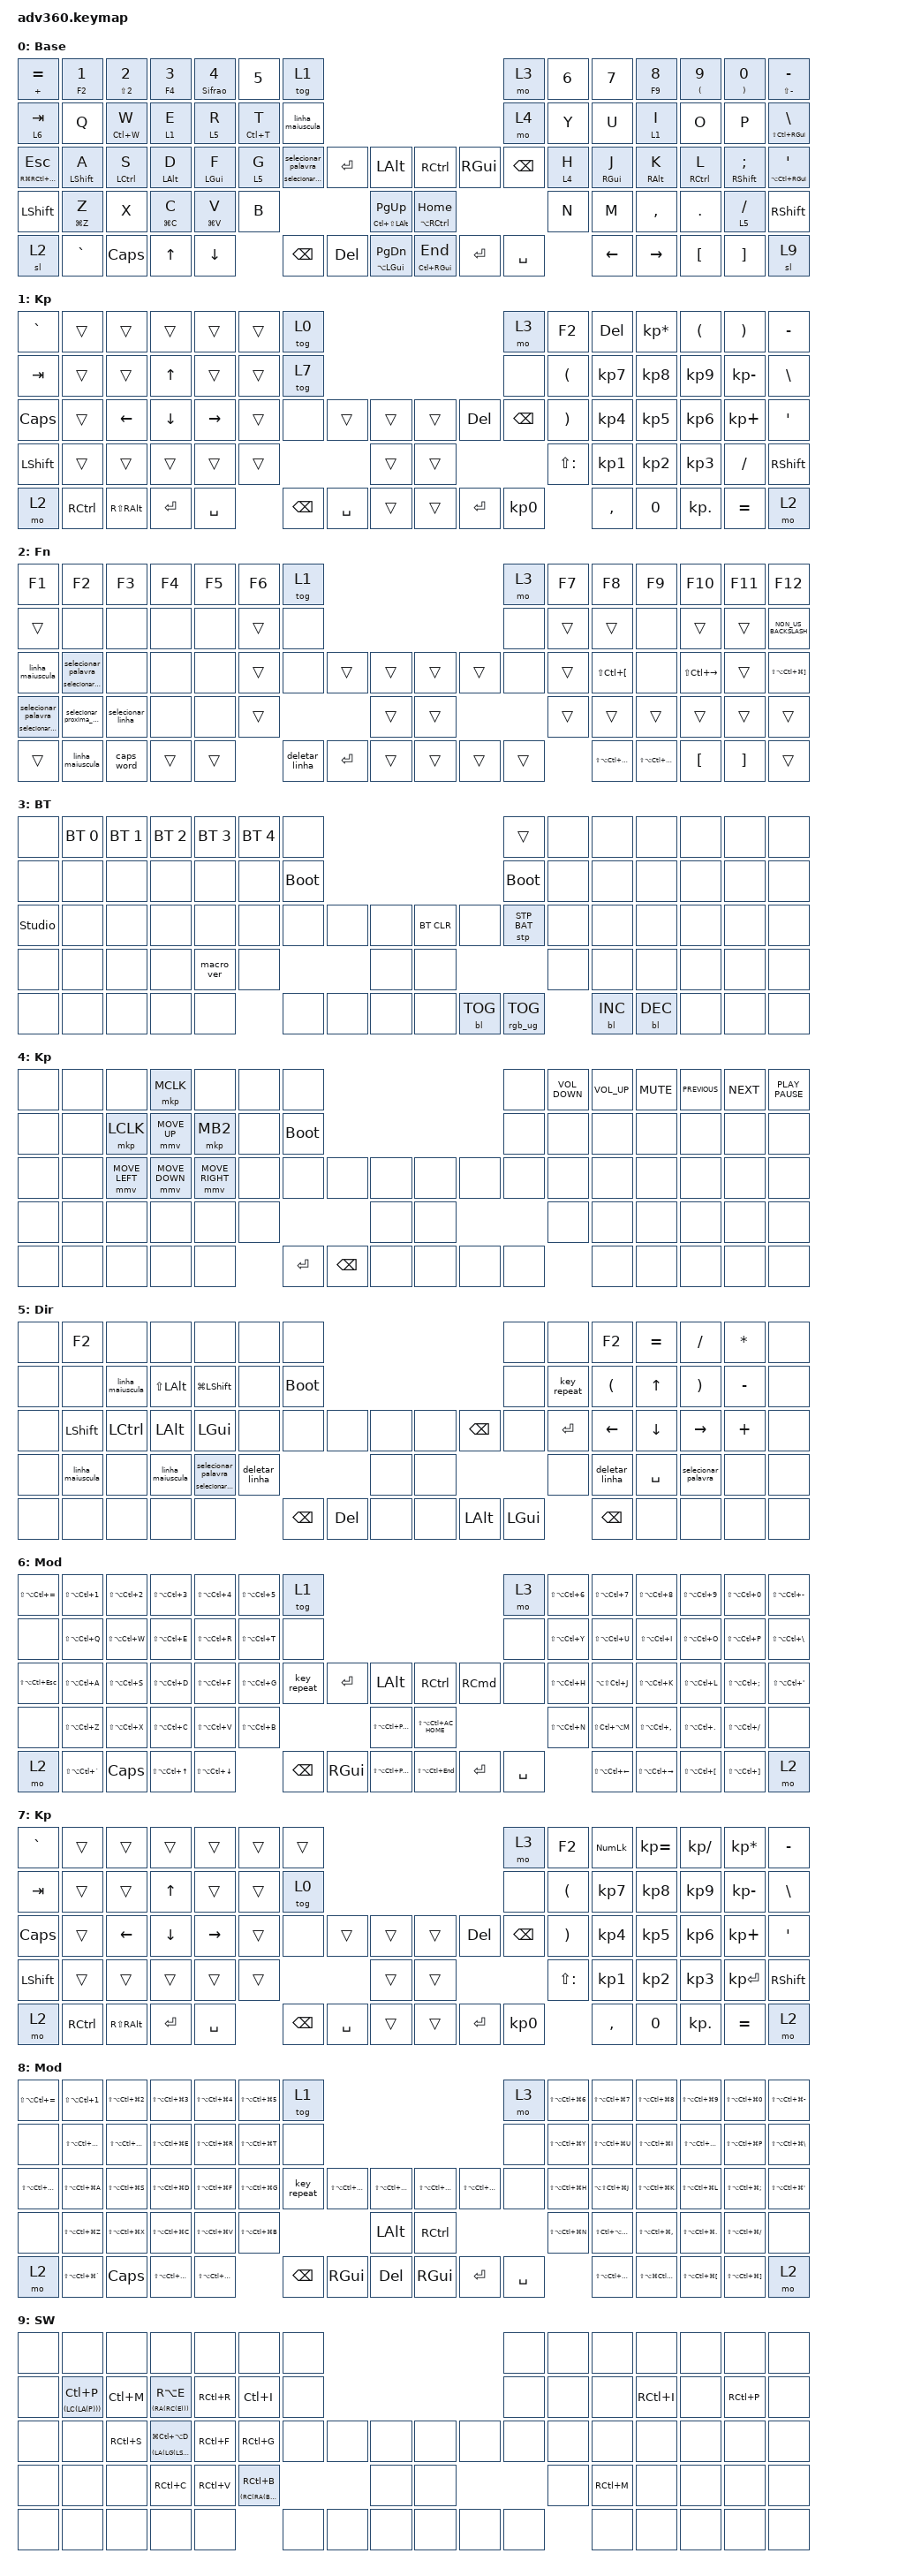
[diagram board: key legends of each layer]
#include <dt-bindings/zmk/stp.h>
#include <behaviors.dtsi>
#include <dt-bindings/zmk/backlight.h>
#include <dt-bindings/zmk/bt.h>
#include <dt-bindings/zmk/keys.h>
#include <dt-bindings/zmk/pointing.h>
#include <dt-bindings/zmk/rgb.h>

/ {
    behaviors {
        #include "macros.dtsi"
      #include "version.dtsi"

        hm: homerow_mods {
            compatible = "zmk,behavior-hold-tap";
            label = "HOMEROW_MODS";
            #binding-cells = <2>;
            tapping-term-ms = <250>;
            quick_tap_ms = <200>;
            flavor = "tap-preferred";
            bindings = <&kp>, <&kp>;
        };

        hm_slow: hm_slow {
            compatible = "zmk,behavior-hold-tap";
            label = "HM_SLOW";
            #binding-cells = <2>;
            tapping-term-ms = <300>;
            quick_tap_ms = <250>;
            flavor = "tap-preferred";
            bindings = <&kp>, <&kp>;
        };

        hm_fast: hm_fast {
            compatible = "zmk,behavior-hold-tap";
            label = "HM_FAST";
            #binding-cells = <2>;
            tapping-term-ms = <120>;
            quick_tap_ms = <70>;
            flavor = "tap-preferred";
            bindings = <&kp>, <&kp>;
        };

        macro_palavra: macro_palavra {
            compatible = "zmk,behavior-hold-tap";
            label = "MACRO_PALAVRA";
            #binding-cells = <2>;
            tapping-term-ms = <250>;
            quick_tap_ms = <100>;
            flavor = "tap-preferred";
            bindings = <&selecionar_proxima_palavra>, <&selecionar_palavra>;
        };

        Letra_Macro: Letra_Macro {
            compatible = "zmk,behavior-hold-tap";
            label = "LETRA_MACRO";
            #binding-cells = <2>;
            tapping-term-ms = <250>;
            quick_tap_ms = <200>;
            flavor = "tap-preferred";
            bindings = <&selecionar_linha>, <&kp>;
        };

        Tap_Sifrao: Tap_Sifrao {
            compatible = "zmk,behavior-hold-tap";
            label = "TAP_SIFRAO";
            #binding-cells = <2>;
            tapping-term-ms = <250>;
            quick_tap_ms = <200>;
            flavor = "tap-preferred";
            bindings = <&Sifrao>, <&kp>;
        };

        tap_dance: tap_dance {
            compatible = "zmk,behavior-tap-dance";
            label = "TAP_DANCE";
            #binding-cells = <0>;
            bindings = <&none>, <&none>;

            tapping-term-ms = <200>;
        };
    };

    combos {
        compatible = "zmk,combos";

        CapsLock {
            bindings = <&linha_maiuscula>;
            key-positions = <46 59>;
        };

        Delet {
            bindings = <&kp DELETE>;
            key-positions = <46 65>;
        };

        CapsWords {
            bindings = <&caps_word>;
            key-positions = <46 62>;
        };

        SW_Layer {
            bindings = <&sl 9>;
            key-positions = <50 49>;
        };

        Alt_Tab {
            bindings = <&kp LG(LA(Y))>;
            key-positions = <55 56>;
        };

        space {
            bindings = <&kp SPACE>;
            key-positions = <65 29>;
        };
    };

    macros {
        selecionar_palavra: selecionar_palavra {
            compatible = "zmk,behavior-macro";
            #binding-cells = <0>;
            bindings = <&kp LA(LEFT_ARROW) &kp LS(LA(RIGHT))>;
            label = "SELECIONAR_PALAVRA";
        };

        deletar_linha: deletar_linha {
            compatible = "zmk,behavior-macro";
            #binding-cells = <0>;
            bindings = <&kp RA(RIGHT_ARROW) &kp LS(LG(LEFT_ARROW)) &kp DELETE>;
            label = "DELETAR_LINHA";
        };

        selecionar_proxima_palavra: selecionar_proxima_palavra {
            compatible = "zmk,behavior-macro";
            #binding-cells = <0>;
            bindings = <&kp RA(RIGHT_ARROW) &kp LA(LEFT) &kp LA(LEFT) &kp LS(LA(RIGHT))>;
            label = "SELECIONAR_PROXIMA_PALAVRA";
        };

        linha_maiuscula: linha_maiuscula {
            compatible = "zmk,behavior-macro";
            #binding-cells = <0>;
            bindings = <&kp LG(LS(LEFT)) &kp LS(LA(LC(LG(U))))>;
            label = "LINHA_MAIUSCULA";
        };

        parenteses: parenteses {
            compatible = "zmk,behavior-macro";
            #binding-cells = <0>;
            bindings = <&kp LEFT_PARENTHESIS &kp RIGHT_PARENTHESIS &kp LEFT>;
            label = "PARENTESES";
        };

        selecionar_linha: selecionar_linha {
            compatible = "zmk,behavior-macro";
            #binding-cells = <0>;
            bindings = <&kp LG(RIGHT) &kp LS(LG(LEFT_ARROW))>;
            label = "SELECIONAR_LINHA";
        };

        Sifrao: Sifrao {
            compatible = "zmk,behavior-macro";
            #binding-cells = <0>;
            bindings = <&kp LS(R) &kp DLLR>;
            label = "SIFRAO";
        };
    };

    keymap {
        compatible = "zmk,keymap";

        default_layer {
            display-name = "Base";
            bindings = <
&hm_slow PLUS EQUAL               &hm_slow F2 N1         &hm_slow LS(N2) NUMBER_2  &hm_slow F4 NUMBER_3  &Tap_Sifrao 0 NUMBER_4  &kp N5            &tog 1                                                                                                      &mo 3          &kp N6   &kp N7           &hm F9 N8        &hm_slow LEFT_PARENTHESIS N9  &hm_slow RIGHT_PARENTHESIS N0   &hm_slow LS(MINUS) MINUS
&lt 6 TAB                         &kp Q                  &hm_slow LC(W) W          &lt 1 E               &lt 5 R                 &hm_slow LC(T) T  &linha_maiuscula                                                                                            &mo 4          &kp Y    &kp U            &lt 1 I          &kp O                         &kp P                           &hm_slow LS(LC(RIGHT_GUI)) BACKSLASH
&hm RG(RC(RS(RIGHT_ALT))) ESCAPE  &hm_slow LEFT_SHIFT A  &hm LEFT_CONTROL S        &hm LEFT_ALT D        &hm LEFT_GUI F          &lt 5 G           &macro_palavra 0 0  &kp ENTER  &kp LALT                          &kp RIGHT_CONTROL           &kp RIGHT_GUI  &kp BACKSPACE  &lt 4 H  &hm RIGHT_GUI J  &hm RIGHT_ALT K  &hm RIGHT_CONTROL L           &hm_fast RIGHT_SHIFT SEMICOLON  &hm LA(LC(RIGHT_GUI)) SQT
&kp LSHFT                         &hm_slow LG(Z) Z       &kp X                     &hm_slow LG(C) C      &hm_slow LG(V) V        &kp B                                            &hm LC(LS(LEFT_ALT)) PAGE_UP      &hm LA(RIGHT_CONTROL) HOME                                &kp N    &kp M            &kp COMMA        &kp DOT                       &lt 5 SLASH                     &kp RSHFT
&sl 2                             &kp GRAVE              &kp CAPSLOCK              &kp UP_ARROW          &kp DOWN                                  &kp BACKSPACE       &kp DEL    &hm LA(LEFT_GUI) PAGE_DOWN        &hm LC(RIGHT_GUI) END       &kp ENTER      &kp SPACE               &kp LEFT_ARROW   &kp RIGHT        &kp LEFT_BRACKET              &kp RIGHT_BRACKET               &sl 9
            >;
        };

        keypad {
            display-name = "Kp";
            bindings = <
&kp GRAVE  &trans             &trans             &trans     &trans     &trans  &tog 0                                              &mo 3          &kp F2                 &kp DELETE       &kp KP_MULTIPLY  &kp LEFT_PARENTHESIS  &kp RIGHT_PARENTHESIS  &kp MINUS
&kp TAB    &trans             &trans             &kp UP     &trans     &trans  &tog 7                                              &none          &kp LEFT_PARENTHESIS   &kp KP_N7        &kp KP_N8        &kp KP_N9             &kp KP_MINUS           &kp BSLH
&kp CAPS   &trans             &kp LEFT           &kp DOWN   &kp RIGHT  &trans  &none     &trans     &trans      &trans  &kp DEL    &kp BACKSPACE  &kp RIGHT_PARENTHESIS  &kp KP_N4        &kp KP_N5        &kp KP_N6             &kp KP_PLUS            &kp SQT
&kp LSHFT  &trans             &trans             &trans     &trans     &trans                       &trans      &trans                            &kp LS(COLON)          &kp KP_NUMBER_1  &kp KP_NUMBER_2  &kp KP_N3             &kp SLASH              &kp RSHFT
&mo 2      &kp RIGHT_CONTROL  &kp RS(RIGHT_ALT)  &kp ENTER  &kp SPACE          &kp BSPC  &kp SPACE  &trans      &trans  &kp ENTER  &kp KP_N0                             &kp COMMA        &kp N0           &kp KP_DOT            &kp EQUAL              &mo 2
            >;
        };

        fn {
            display-name = "Fn";
            bindings = <
&kp F1              &kp F2                       &kp F3             &kp F4  &kp F5  &kp F6  &tog 1                                                 &mo 3   &kp F7  &kp F8                    &kp F9                     &kp F10            &kp F11   &kp F12
&trans              &none                        &none              &none   &none   &trans  &none                                                  &none   &trans  &trans                    &none                      &trans             &trans    &kp NON_US_BACKSLASH
&linha_maiuscula    &macro_palavra 0 0           &none              &none   &none   &trans  &none           &trans     &trans      &trans  &trans  &none   &trans  &kp LS(LC(LEFT_BRACKET))  &none                      &kp LS(LC(RIGHT))  &trans    &kp LS(LA(LC(LG(RIGHT_BRACKET))))
&macro_palavra 0 0  &selecionar_proxima_palavra  &selecionar_linha  &none   &none   &trans                             &trans      &trans                  &trans  &trans                    &trans                     &trans             &trans    &trans
&trans              &linha_maiuscula             &caps_word         &trans  &trans          &deletar_linha  &kp ENTER  &trans      &trans  &trans  &trans          &kp LS(LA(LC(LG(LEFT))))  &kp LS(LA(LC(LG(RIGHT))))  &kp LBKT           &kp RBKT  &trans
            >;
        };

        mod {
            display-name = "BT";
            bindings = <
&none           &bt BT_SEL 0  &bt BT_SEL 1  &bt BT_SEL 2  &bt BT_SEL 3  &bt BT_SEL 4  &none                                                  &trans           &none  &none       &none       &none  &none  &none
&none           &none         &none         &none         &none         &none         &bootloader                                            &bootloader      &none  &none       &none       &none  &none  &none
&studio_unlock  &none         &none         &none         &none         &none         &none        &none  &none      &bt BT_CLR  &none       &stp STP_BAT     &none  &none       &none       &none  &none  &none
&none           &none         &none         &none         &macro_ver    &none                             &none      &none                                    &none  &none       &none       &none  &none  &none
&none           &none         &none         &none         &none                       &none        &none  &none      &none       &bl BL_TOG  &rgb_ug RGB_TOG         &bl BL_INC  &bl BL_DEC  &none  &none  &none
            >;
        };

        Mouse {
            display-name = "Kp";
            bindings = <
&none  &none  &none           &mkp MCLK       &none            &none  &none                                           &none  &kp C_VOLUME_DOWN  &kp C_VOLUME_UP  &kp K_MUTE  &kp K_PREVIOUS  &kp K_NEXT  &kp K_PLAY_PAUSE
&none  &none  &mkp LCLK       &mmv MOVE_UP    &mkp MB2         &none  &bootloader                                     &none  &none              &none            &none       &none           &none       &none
&none  &none  &mmv MOVE_LEFT  &mmv MOVE_DOWN  &mmv MOVE_RIGHT  &none  &none        &none     &none      &none  &none  &none  &none              &none            &none       &none           &none       &none
&none  &none  &none           &none           &none            &none                         &none      &none                &none              &none            &none       &none           &none       &none
&none  &none  &none           &none           &none                   &kp RET      &kp BSPC  &none      &none  &none  &none                     &none            &none       &none           &none       &none
            >;
        };

        Direcional {
            display-name = "Dir";
            bindings = <
&none  &kp F2            &none             &none             &none               &none           &none                                                      &none         &none        &kp F2                &kp EQUAL  &kp FSLH               &kp STAR   &none
&none  &none             &linha_maiuscula  &kp LS(LEFT_ALT)  &kp LG(LEFT_SHIFT)  &none           &bootloader                                                &none         &key_repeat  &kp LEFT_PARENTHESIS  &kp UP     &kp RIGHT_PARENTHESIS  &kp MINUS  &none
&none  &kp LEFT_SHIFT    &kp LEFT_CONTROL  &kp LALT          &kp LGUI            &none           &none          &none       &none      &none  &kp BSPC      &none         &kp RET      &kp LEFT              &kp DOWN   &kp RIGHT              &kp PLUS   &none
&none  &linha_maiuscula  &none             &linha_maiuscula  &macro_palavra 0 0  &deletar_linha                             &none      &none                              &none        &deletar_linha        &kp SPACE  &selecionar_palavra    &none      &none
&none  &none             &none             &none             &none                               &kp BACKSPACE  &kp DELETE  &none      &none  &kp LEFT_ALT  &kp LEFT_GUI               &kp BACKSPACE         &none      &none                  &none      &none
            >;
        };

        Hyper_layer {
            display-name = "Mod";
            bindings = <
&kp LS(LA(LC(EQUAL)))   &kp LS(LA(LC(N1)))     &kp LS(LA(LC(N2)))  &kp LS(LA(LC(N3)))  &kp LS(LA(LC(N4)))          &kp LS(LA(LC(N5)))  &tog 1                                                                                                     &mo 3      &kp LS(LA(LC(N6)))  &kp LS(LA(LC(N7)))          &kp LS(LA(LC(N8)))     &kp LS(LA(LC(N9)))    &kp LS(LA(LC(N0)))    &kp LS(LA(LC(MINUS)))
&none                   &kp LS(LA(LC(Q)))      &kp LS(LA(LC(W)))   &kp LS(LA(LC(E)))   &kp LS(LA(LC(R)))           &kp LS(LA(LC(T)))   &none                                                                                                      &none      &kp LS(LA(LC(Y)))   &kp LS(LA(LC(U)))           &kp LS(LA(LC(I)))      &kp LS(LA(LC(O)))     &kp LS(LA(LC(P)))     &kp LS(LA(LC(BACKSLASH)))
&kp LS(LA(LC(ESCAPE)))  &kp LS(LA(LC(A)))      &kp LS(LA(LC(S)))   &kp LS(LA(LC(D)))   &kp LS(LA(LC(F)))           &kp LS(LA(LC(G)))   &key_repeat    &kp ENTER      &kp LEFT_ALT                   &kp RIGHT_CONTROL          &kp RIGHT_COMMAND  &none      &kp LS(LA(LC(H)))   &kp LA(LS(LC(J)))           &kp LS(LA(LC(K)))      &kp LS(LA(LC(L)))     &kp LS(LA(LC(SEMI)))  &kp LS(LA(LC(SQT)))
&none                   &kp LS(LA(LC(Z)))      &kp LS(LA(LC(X)))   &kp LS(LA(LC(C)))   &kp LS(LA(LC(V)))           &kp LS(LA(LC(B)))                                 &kp LS(LA(LC(PAGE_UP)))        &kp LS(LA(LC(C_AC_HOME)))                                &kp LS(LA(LC(N)))   &kp LS(LC(LA(M)))           &kp LS(LA(LC(COMMA)))  &kp LS(LA(LC(DOT)))   &kp LS(LA(LC(FSLH)))  &none
&mo 2                   &kp LS(LA(LC(GRAVE)))  &kp CAPSLOCK        &kp LS(LA(LC(UP)))  &kp LS(LA(LC(DOWN_ARROW)))                      &kp BACKSPACE  &kp RIGHT_GUI  &kp LS(LA(LC(PAGE_DOWN)))      &kp LS(LA(LC(END)))        &kp ENTER          &kp SPACE                      &kp LS(LA(LC(LEFT_ARROW)))  &kp LS(LA(LC(RIGHT)))  &kp LS(LA(LC(LBKT)))  &kp LS(LA(LC(RBKT)))  &mo 2
            >;
        };

        layer_8 {
            display-name = "Kp";
            bindings = <
&kp GRAVE  &trans             &trans             &trans     &trans     &trans  &trans                                              &mo 3          &kp F2                 &kp KP_NUM       &kp KP_EQUAL     &kp KP_DIVIDE  &kp KP_MULTIPLY  &kp MINUS
&kp TAB    &trans             &trans             &kp UP     &trans     &trans  &tog 0                                              &none          &kp LEFT_PARENTHESIS   &kp KP_N7        &kp KP_N8        &kp KP_N9      &kp KP_MINUS     &kp BSLH
&kp CAPS   &trans             &kp LEFT           &kp DOWN   &kp RIGHT  &trans  &none     &trans     &trans      &trans  &kp DEL    &kp BACKSPACE  &kp RIGHT_PARENTHESIS  &kp KP_N4        &kp KP_N5        &kp KP_N6      &kp KP_PLUS      &kp SQT
&kp LSHFT  &trans             &trans             &trans     &trans     &trans                       &trans      &trans                            &kp LS(COLON)          &kp KP_NUMBER_1  &kp KP_NUMBER_2  &kp KP_N3      &kp KP_ENTER     &kp RSHFT
&mo 2      &kp RIGHT_CONTROL  &kp RS(RIGHT_ALT)  &kp ENTER  &kp SPACE          &kp BSPC  &kp SPACE  &trans      &trans  &kp ENTER  &kp KP_N0                             &kp COMMA        &kp N0           &kp KP_DOT     &kp EQUAL        &mo 2
            >;
        };

        Lay_special {
            display-name = "Mod";
            bindings = <
&kp LS(LA(LC(EQUAL)))       &kp LS(LA(LC(N1)))         &kp LS(LA(LC(LG(N2))))  &kp LS(LA(LC(LG(N3))))  &kp LS(LA(LC(LG(N4))))          &kp LS(LA(LC(LG(N5))))  &tog 1                                                                                                                      &mo 3      &kp LS(LA(LC(LG(N6))))  &kp LS(LA(LC(LG(N7))))          &kp LS(LA(LC(LG(N8))))     &kp LS(LA(LC(LG(N9))))    &kp LS(LA(LC(LG(N0))))    &kp LS(LA(LC(LG(MINUS))))
&none                       &kp LS(LA(LC(LG(Q))))      &kp LS(LA(LC(LG(W))))   &kp LS(LA(LC(LG(E))))   &kp LS(LA(LC(LG(R))))           &kp LS(LA(LC(LG(T))))   &none                                                                                                                       &none      &kp LS(LA(LC(LG(Y))))   &kp LS(LA(LC(LG(U))))           &kp LS(LA(LC(LG(I))))      &kp LS(LA(LC(LG(O))))     &kp LS(LA(LC(LG(P))))     &kp LS(LA(LC(LG(BACKSLASH))))
&kp LS(LA(LC(LG(ESCAPE))))  &kp LS(LA(LC(LG(A))))      &kp LS(LA(LC(LG(S))))   &kp LS(LA(LC(LG(D))))   &kp LS(LA(LC(LG(F))))           &kp LS(LA(LC(LG(G))))   &key_repeat    &kp LS(LA(LC(LG(PG_UP))))  &kp LS(LA(LC(LG(PG_DN))))      &kp LS(LA(LC(LG(HOME))))  &kp LS(LA(LC(LG(END))))  &none      &kp LS(LA(LC(LG(H))))   &kp LA(LS(LC(LG(J))))           &kp LS(LA(LC(LG(K))))      &kp LS(LA(LC(LG(L))))     &kp LS(LA(LC(LG(SEMI))))  &kp LS(LA(LC(LG(SQT))))
&none                       &kp LS(LA(LC(LG(Z))))      &kp LS(LA(LC(LG(X))))   &kp LS(LA(LC(LG(C))))   &kp LS(LA(LC(LG(V))))           &kp LS(LA(LC(LG(B))))                                             &kp LEFT_ALT                   &kp RIGHT_CONTROL                                             &kp LS(LA(LC(LG(N))))   &kp LS(LC(LA(LG(M))))           &kp LS(LA(LC(LG(COMMA))))  &kp LS(LA(LC(LG(DOT))))   &kp LS(LA(LC(LG(FSLH))))  &none
&mo 2                       &kp LS(LA(LC(LG(GRAVE))))  &kp CAPSLOCK            &kp LS(LA(LC(LG(UP))))  &kp LS(LA(LC(LG(DOWN_ARROW))))                          &kp BACKSPACE  &kp RIGHT_GUI              &kp DEL                        &kp RIGHT_GUI             &kp ENTER                &kp SPACE                          &kp LS(LA(LC(LG(LEFT_ARROW))))  &kp LS(LA(LG(LC(RIGHT))))  &kp LS(LA(LC(LG(LBKT))))  &kp LS(LA(LC(LG(RBKT))))  &mo 2
            >;
        };

        SW {
            bindings = <
&none  &none                  &none      &none                              &none      &none                  &none                                  &none  &none  &none      &none      &none  &none      &none
&none  &hm (LC(LA(P))) LC(P)  &kp LC(M)  &hm (RA(RC(E))) RA(E)              &kp RC(R)  &kp LC(I)              &none                                  &none  &none  &none      &kp RC(I)  &none  &kp RC(P)  &none
&none  &none                  &kp RC(S)  &hm (LA(LG(LS(D)))) LG(LC(LA(D)))  &kp RC(F)  &kp RC(G)              &none  &none  &none      &none  &none  &none  &none  &none      &none      &none  &none      &none
&none  &none                  &none      &kp RC(C)                          &kp RC(V)  &hm (RC(RA(B))) RC(B)                &none      &none                &none  &kp RC(M)  &none      &none  &none      &none
&none  &none                  &none      &none                              &none                             &none  &none  &none      &none  &none  &none         &none      &none      &none  &none      &none
            >;
        };
    };
};
